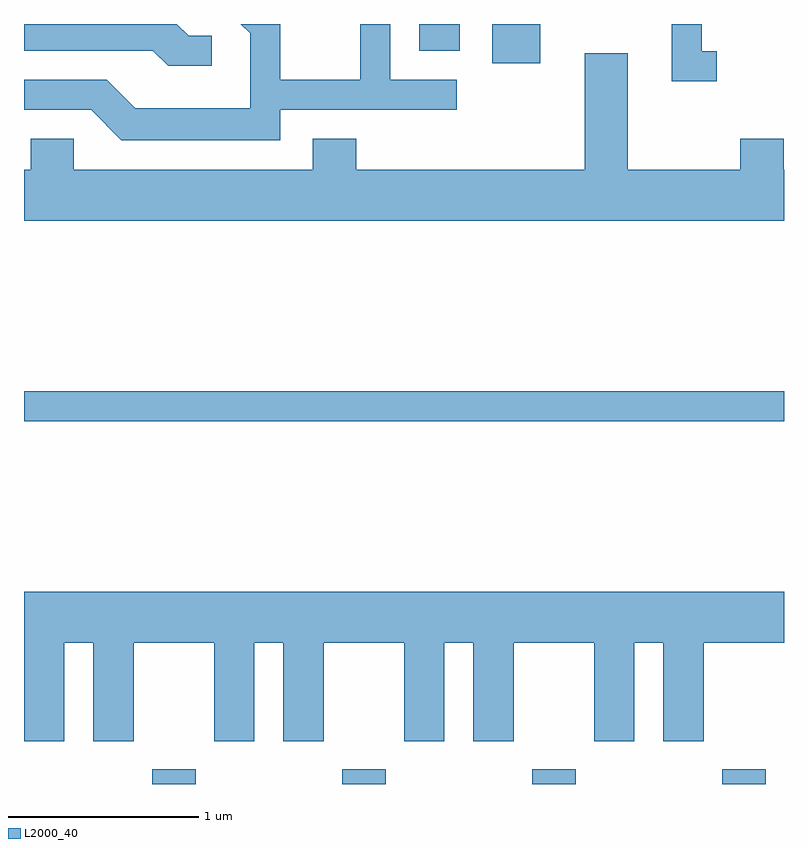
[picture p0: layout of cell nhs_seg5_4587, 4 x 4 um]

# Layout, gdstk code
import gdstk
lib = gdstk.Library(unit=1e-6, precision=1e-09)
def R(c, l, rs):  # rectangles x0, y0, x1, y1
    for r in rs: c.add(gdstk.rectangle(r[:2], r[2:], *l))
def A(c, l, x, y, w, h, nx, ny, dx, dy):  # array of equal rectangles
    R(c, l, [(x+i*dx, y+j*dy, x+i*dx+w, y+j*dy+h) for i in range(nx) for j in range(ny)])
def P(c, l, *ps):  # polygons
    for p in ps: c.add(gdstk.Polygon(p, *l))
L2000_40 = (2000, 40)

nhs_seg5_4587 = lib.new_cell('nhs_seg5_4587')
A(nhs_seg5_4587, L2000_40, 322.286, 1436.072, 0.228, 0.077, 4, 1, 1, 0)
R(nhs_seg5_4587, L2000_40, [(321.611,1437.981,325.611,1438.139), (324.076,1439.866,324.329,1440.072), (323.691,1439.931,323.904,1440.072)])
P(nhs_seg5_4587, L2000_40, [(322.598,1440.009),(322.477,1440.009),(322.414,1440.072),(321.611,1440.072),(321.611,1439.931),(322.289,1439.931),(322.369,1439.851),(322.598,1439.851)],
  [(325.258,1439.929),(325.179,1439.929),(325.179,1440.072),(325.021,1440.072),(325.021,1439.771),(325.258,1439.771)],
  [(322.959,1439.621),(323.888,1439.621),(323.888,1439.779),(323.539,1439.779),(323.539,1440.072),(323.381,1440.072),(323.381,1439.779),(322.959,1439.779),(322.959,1440.072),(322.753,1440.072),(322.801,1440.024),(322.801,1439.629),(322.197,1439.629),(322.047,1439.779),(321.611,1439.779),(321.611,1439.621),(321.964,1439.621),(322.124,1439.461),(322.959,1439.461)],
  [(325.611,1439.304),(325.609,1439.304),(325.609,1439.469),(325.381,1439.469),(325.381,1439.304),(324.789,1439.304),(324.789,1439.919),(324.561,1439.919),(324.561,1439.304),(323.359,1439.304),(323.359,1439.469),(323.131,1439.469),(323.131,1439.304),(321.874,1439.304),(321.874,1439.469),(321.646,1439.469),(321.646,1439.304),(321.611,1439.304),(321.611,1439.036),(325.611,1439.036)],
  [(321.824,1436.816),(321.976,1436.816),(321.976,1436.296),(322.189,1436.296),(322.189,1436.816),(322.611,1436.816),(322.611,1436.296),(322.824,1436.296),(322.824,1436.816),(322.976,1436.816),(322.976,1436.296),(323.189,1436.296),(323.189,1436.816),(323.611,1436.816),(323.611,1436.296),(323.824,1436.296),(323.824,1436.816),(323.976,1436.816),(323.976,1436.296),(324.189,1436.296),(324.189,1436.816),(324.611,1436.816),(324.611,1436.296),(324.824,1436.296),(324.824,1436.816),(324.976,1436.816),(324.976,1436.296),(325.189,1436.296),(325.189,1436.816),(325.611,1436.816),(325.611,1437.084),(321.611,1437.084),(321.611,1436.296),(321.824,1436.296)])

lib.write_gds('nhs_seg5_4587.gds')
